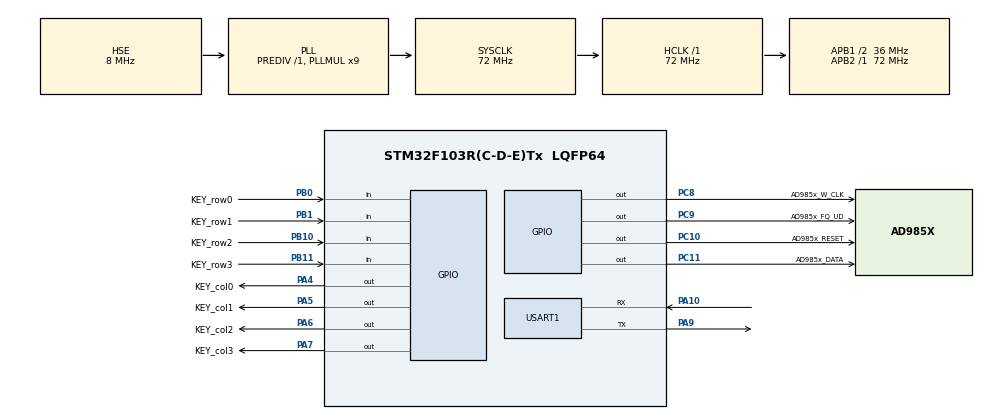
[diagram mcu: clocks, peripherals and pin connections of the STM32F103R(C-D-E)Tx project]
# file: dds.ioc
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Mcu.Family=STM32F1
Mcu.Name=STM32F103R(C-D-E)Tx
Mcu.Package=LQFP64
NVIC.PriorityGroup=NVIC_PRIORITYGROUP_2
NVIC.USART1_IRQn=true\:0\:0\:false\:false\:true\:true\:true
PA10.Mode=Asynchronous
PA10.Signal=USART1_RX
PA4.GPIO_Label=KEY_col0
PA4.GPIO_Speed=GPIO_SPEED_FREQ_LOW
PA4.PinState=GPIO_PIN_SET
PA4.Signal=GPIO_Output
PA5.GPIO_Label=KEY_col1
PA5.PinState=GPIO_PIN_SET
PA5.Signal=GPIO_Output
PA6.GPIO_Label=KEY_col2
PA6.PinState=GPIO_PIN_SET
PA6.Signal=GPIO_Output
PA7.GPIO_Label=KEY_col3
PA7.PinState=GPIO_PIN_SET
PA7.Signal=GPIO_Output
PA9.Mode=Asynchronous
PA9.Signal=USART1_TX
PB0.GPIO_Label=KEY_row0
PB0.GPIO_PuPd=GPIO_PULLUP
PB0.Signal=GPIO_Input
PB1.GPIO_Label=KEY_row1
PB1.GPIO_PuPd=GPIO_PULLUP
PB1.Signal=GPIO_Input
PB10.GPIO_Label=KEY_row2
PB10.GPIO_PuPd=GPIO_PULLUP
PB10.Signal=GPIO_Input
PB11.GPIO_Label=KEY_row3
PB11.GPIO_PuPd=GPIO_PULLUP
PB11.Signal=GPIO_Input
PC10.GPIO_Label=AD985x_RESET
PC10.GPIO_Speed=GPIO_SPEED_FREQ_HIGH
PC10.Signal=GPIO_Output
PC11.GPIO_Label=AD985x_DATA
PC11.GPIO_Speed=GPIO_SPEED_FREQ_HIGH
PC11.Signal=GPIO_Output
PC8.GPIO_Label=AD985x_W_CLK
PC8.GPIO_Speed=GPIO_SPEED_FREQ_HIGH
PC8.Signal=GPIO_Output
PC9.GPIO_Label=AD985x_FQ_UD
PC9.GPIO_Speed=GPIO_SPEED_FREQ_HIGH
PC9.Signal=GPIO_Output
PD0-OSC_IN.Mode=HSE-External-Oscillator
PD0-OSC_IN.Signal=RCC_OSC_IN
PD1-OSC_OUT.Mode=HSE-External-Oscillator
PD1-OSC_OUT.Signal=RCC_OSC_OUT
ProjectManager.HeapSize=0x200
ProjectManager.StackSize=0x400
ProjectManager.TargetToolchain=SW4STM32
RCC.AHBFreq_Value=72000000
RCC.APB1CLKDivider=RCC_HCLK_DIV2
RCC.APB1Freq_Value=36000000
RCC.APB1TimFreq_Value=72000000
RCC.APB2Freq_Value=72000000
RCC.APB2TimFreq_Value=72000000
RCC.HCLKFreq_Value=72000000
RCC.PLLMUL=RCC_PLL_MUL9
RCC.PLLSourceVirtual=RCC_PLLSOURCE_HSE
RCC.SYSCLKFreq_VALUE=72000000
RCC.SYSCLKSource=RCC_SYSCLKSOURCE_PLLCLK
RCC.USBFreq_Value=72000000
USART1.VirtualMode=VM_ASYNC
VP_SYS_VS_ND.Mode=No_Debug
board=custom

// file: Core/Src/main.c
/* USER CODE BEGIN Header */
/**
  ******************************************************************************
  * @file           : main.c
  * @brief          : Main program body
  ******************************************************************************
  * @attention
  *
  * <h2><center>&copy; Copyright (c) 2021 STMicroelectronics.
  * All rights reserved.</center></h2>
  *
  * This software component is licensed by ST under BSD 3-Clause license,
  * the "License"; You may not use this file except in compliance with the
  * License. You may obtain a copy of the License at:
  *                        opensource.org/licenses/BSD-3-Clause
  *
  ******************************************************************************
  */
/* USER CODE END Header */
#include "main.h"
#include "usart.h"
#include "gpio.h"

/* USER CODE BEGIN Includes */
#include "key.h"
#include "retarget.h"
#include "ad985X.h"
/* USER CODE END Includes */

void SystemClock_Config(void);

/* USER CODE BEGIN 0 */
uint32_t freq = 1000;
uint16_t Key = 0;
int Mode = 1;
/* USER CODE END 0 */

int main(void)
{

  /* MCU Configuration--------------------------------------------------------*/

  /* Reset of all peripherals, Initializes the Flash interface and the Systick. */
  HAL_Init();

  /* Configure the system clock */
  SystemClock_Config();

  /* Initialize all configured peripherals */
  MX_GPIO_Init();
  MX_USART1_UART_Init();
  /* USER CODE BEGIN 2 */
  RetargetInit(&huart1);
  HAL_Delay(1000);
  AD985x_Set_Frequency(0x00, freq);
  /* USER CODE END 2 */

  /* Infinite loop */
  while (1)
  {

    /* USER CODE BEGIN 3 */
    Key = KEY_SCAN();
    if( 0 < Key && Key < 16 )
    {
      freq = 1000;
      AD985x_Set_Frequency(0x00, freq);
      printf("freq: %d\r\n", freq);
      HAL_Delay(10);
    }
    else if (Key == 16)
    {
      for (uint16_t i = 0;i < 240;i++)
      {
        freq = (i+1) * 1000;
        AD985x_Set_Frequency(0x00, freq);
        printf("freq: %d\r\n", freq);
        HAL_Delay(5000);
      }
    }
    Key = 0;
  }
  /* USER CODE END 3 */
}

void SystemClock_Config(void)
{
  RCC_OscInitTypeDef RCC_OscInitStruct = {0};
  RCC_ClkInitTypeDef RCC_ClkInitStruct = {0};

  /** Initializes the RCC Oscillators according to the specified parameters
  * in the RCC_OscInitTypeDef structure.
  */
  RCC_OscInitStruct.OscillatorType = RCC_OSCILLATORTYPE_HSE;
  RCC_OscInitStruct.HSEState = RCC_HSE_ON;
  RCC_OscInitStruct.HSEPredivValue = RCC_HSE_PREDIV_DIV1;
  RCC_OscInitStruct.HSIState = RCC_HSI_ON;
  RCC_OscInitStruct.PLL.PLLState = RCC_PLL_ON;
  RCC_OscInitStruct.PLL.PLLSource = RCC_PLLSOURCE_HSE;
  RCC_OscInitStruct.PLL.PLLMUL = RCC_PLL_MUL9;
  if (HAL_RCC_OscConfig(&RCC_OscInitStruct) != HAL_OK)
  {
    Error_Handler();
  }
  /** Initializes the CPU, AHB and APB buses clocks
  */
  RCC_ClkInitStruct.ClockType = RCC_CLOCKTYPE_HCLK|RCC_CLOCKTYPE_SYSCLK
                              |RCC_CLOCKTYPE_PCLK1|RCC_CLOCKTYPE_PCLK2;
  RCC_ClkInitStruct.SYSCLKSource = RCC_SYSCLKSOURCE_PLLCLK;
  RCC_ClkInitStruct.AHBCLKDivider = RCC_SYSCLK_DIV1;
  RCC_ClkInitStruct.APB1CLKDivider = RCC_HCLK_DIV2;
  RCC_ClkInitStruct.APB2CLKDivider = RCC_HCLK_DIV1;

  if (HAL_RCC_ClockConfig(&RCC_ClkInitStruct, FLASH_LATENCY_2) != HAL_OK)
  {
    Error_Handler();
  }
}

void Error_Handler(void)
{
  __disable_irq();
  while (1)
  {
  }
}

/************************ (C) COPYRIGHT STMicroelectronics *****END OF FILE****/
